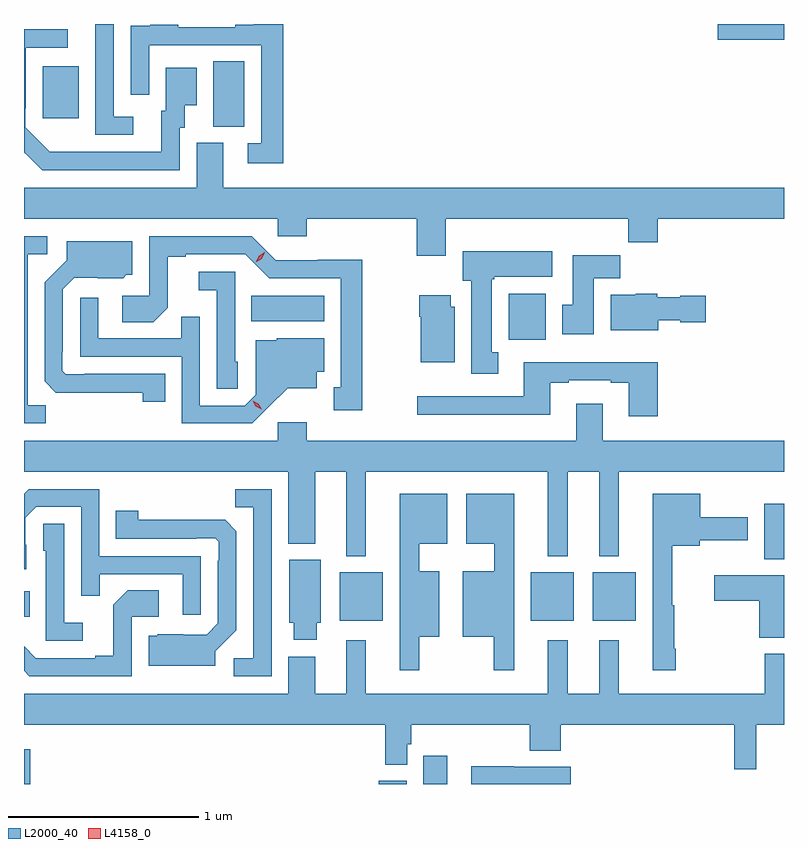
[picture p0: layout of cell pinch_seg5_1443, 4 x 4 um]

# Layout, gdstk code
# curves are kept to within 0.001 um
import gdstk
lib = gdstk.Library(unit=1e-6, precision=1e-09)
def R(c, l, rs):  # rectangles x0, y0, x1, y1
    for r in rs: c.add(gdstk.rectangle(r[:2], r[2:], *l))
def P(c, l, *ps):  # polygons
    for p in ps: c.add(gdstk.Polygon(p, *l))
L2000_40 = (2000, 40)
L4158_0 = (4158, 0)

pinch_seg5_1443 = lib.new_cell('pinch_seg5_1443')
R(pinch_seg5_1443, L2000_40, [(135.284,885.753,135.317,885.937), (137.15,885.753,137.299,885.769), (137.386,885.753,137.512,885.901), (136.946,886.613,137.173,886.867), (137.951,886.613,138.178,886.867), (138.278,886.613,138.505,886.867), (135.284,886.634,135.314,886.768), (139.181,886.937,139.284,887.227), (137.834,888.092,138.031,888.334), (136.48,888.188,136.864,888.322), (136.28,889.213,136.444,889.556), (135.383,889.257,135.571,889.531), (138.936,889.67,139.284,889.753)])
P(pinch_seg5_1443, L2000_40, [(136.649,889.753),(136.493,889.753),(136.493,889.75),(136.397,889.75),(136.397,889.737),(136.097,889.737),(136.097,889.75),(135.949,889.75),(135.949,889.743),(135.847,889.743),(135.847,889.634),(135.846,889.634),(135.846,889.38),(135.942,889.38),(135.942,889.641),(136.533,889.641),(136.533,889.125),(136.461,889.125),(136.461,889.02),(136.649,889.02)],
  [(135.859,889.266),(135.756,889.266),(135.756,889.753),(135.659,889.753),(135.659,889.627),(135.66,889.627),(135.66,889.17),(135.859,889.17)],
  [(136.104,889.206),(136.129,889.206),(136.129,889.325),(136.192,889.325),(136.192,889.522),(136.031,889.522),(136.031,889.296),(136.007,889.296),(136.007,889.08),(135.42,889.081),(135.291,889.209),(135.291,889.309),(135.294,889.309),(135.294,889.629),(135.514,889.629),(135.514,889.725),(135.284,889.725),(135.284,889.078),(135.288,889.074),(135.289,889.075),(135.38,888.984),(136.104,888.984)],
  [(136.333,889.128),(136.193,889.128),(136.193,888.892),(135.284,888.892),(135.284,888.728),(136.62,888.728),(136.62,888.635),(136.772,888.635),(136.772,888.728),(137.351,888.728),(137.351,888.534),(137.503,888.534),(137.503,888.728),(138.463,888.728),(138.463,888.604),(138.62,888.604),(138.62,888.728),(139.284,888.728),(139.284,888.892),(136.333,888.892)],
  [(137.063,888.512),(136.83,888.512),(136.83,888.51),(136.608,888.51),(136.482,888.636),(135.942,888.636),(135.942,888.324),(135.801,888.324),(135.801,888.184),(135.965,888.184),(136.041,888.26),(136.041,888.528),(136.135,888.528),(136.135,888.54),(136.449,888.54),(136.575,888.414),(136.952,888.414),(136.952,887.841),(136.913,887.841),(136.913,887.721),(137.063,887.721)],
  [(135.399,887.747),(135.303,887.747),(135.303,888.54),(135.406,888.54),(135.406,888.636),(135.284,888.636),(135.284,887.652),(135.399,887.652)],
  [(136.028,887.913),(135.604,887.913),(135.604,887.91),(135.504,887.91),(135.486,887.928),(135.486,888.028),(135.489,888.028),(135.489,888.357),(135.549,888.417),(135.806,888.416),(135.822,888.432),(135.853,888.432),(135.853,888.61),(135.509,888.61),(135.509,888.51),(135.393,888.394),(135.393,887.872),(135.452,887.813),(135.91,887.812),(135.91,887.766),(136.028,887.766)],
  [(137.779,888.026),(137.746,888.026),(137.746,888.409),(137.76,888.409),(137.76,888.422),(138.064,888.422),(138.064,888.556),(137.594,888.556),(137.594,888.402),(137.639,888.402),(137.639,887.913),(137.779,887.913)],
  [(138.283,888.416),(138.422,888.416),(138.422,888.535),(138.173,888.535),(138.173,888.276),(138.116,888.276),(138.116,888.12),(138.283,888.12)],
  [(136.41,887.976),(136.395,887.976),(136.395,888.45),(136.203,888.45),(136.203,888.353),(136.299,888.353),(136.299,887.833),(136.41,887.833)],
  [(138.622,888.194),(138.738,888.194),(138.738,888.182),(138.871,888.182),(138.871,888.324),(138.738,888.324),(138.738,888.316),(138.618,888.316),(138.618,888.334),(138.504,888.334),(138.504,888.328),(138.371,888.328),(138.371,888.14),(138.622,888.14)],
  [(137.551,888.264),(137.53,888.264),(137.53,888.325),(137.365,888.325),(137.365,888.212),(137.372,888.212),(137.372,887.972),(137.551,887.972)],
  [(136.57,887.735),(136.673,887.837),(136.825,887.837),(136.825,887.924),(136.864,887.924),(136.864,888.1),(136.614,888.1),(136.614,888.088),(136.503,888.088),(136.503,887.802),(136.446,887.745),(136.209,887.745),(136.209,888.212),(136.111,888.212),(136.111,888.099),(135.675,888.099),(135.675,888.313),(135.579,888.313),(135.579,888.003),(136.113,888.003),(136.113,887.652),(136.486,887.652)],
  [(138.62,887.974),(137.915,887.974),(137.915,887.793),(137.355,887.793),(137.355,887.696),(138.055,887.696),(138.055,887.865),(138.151,887.865),(138.151,887.877),(138.371,887.877),(138.371,887.865),(138.467,887.865),(138.467,887.688),(138.62,887.688)],
  [(137.083,887.396),(138.041,887.396),(138.041,886.952),(138.145,886.952),(138.145,887.396),(138.311,887.396),(138.311,886.952),(138.415,886.952),(138.415,887.396),(139.284,887.396),(139.284,887.56),(138.331,887.56),(138.331,887.755),(138.191,887.755),(138.191,887.56),(136.772,887.56),(136.772,887.656),(136.62,887.656),(136.62,887.56),(135.284,887.56),(135.284,887.396),(136.676,887.396),(136.676,887.018),(136.816,887.018),(136.816,887.396),(136.979,887.396),(136.979,886.952),(137.083,886.952)],
  [(136.587,887.304),(136.396,887.304),(136.396,887.209),(136.491,887.209),(136.491,886.416),(136.389,886.416),(136.389,886.32),(136.587,886.32)],
  [(136.215,886.953),(135.681,886.953),(135.681,887.304),(135.308,887.304),(135.284,887.28),(135.284,886.883),(135.295,886.883),(135.295,887.012),(135.291,887.012),(135.291,887.154),(135.348,887.211),(135.585,887.211),(135.585,886.744),(135.683,886.744),(135.683,886.857),(136.119,886.857),(136.119,886.644),(136.215,886.644)],
  [(137.863,887.281),(137.612,887.281),(137.612,887.018),(137.759,887.018),(137.759,886.873),(137.594,886.873),(137.594,886.529),(137.757,886.529),(137.757,886.353),(137.863,886.353)],
  [(138.715,886.465),(138.707,886.465),(138.707,886.694),(138.697,886.694),(138.697,887.006),(138.84,887.006),(138.84,887.036),(139.093,887.036),(139.093,887.158),(138.844,887.158),(138.844,887.281),(138.593,887.281),(138.593,886.353),(138.715,886.353)],
  [(137.365,886.529),(137.47,886.529),(137.47,886.873),(137.365,886.873),(137.365,887.018),(137.512,887.018),(137.512,887.281),(137.261,887.281),(137.261,886.353),(137.365,886.353)],
  [(136.291,886.452),(136.401,886.562),(136.401,887.084),(136.342,887.143),(135.885,887.144),(135.885,887.191),(135.766,887.191),(135.766,887.043),(136.19,887.043),(136.19,887.046),(136.29,887.046),(136.308,887.028),(136.308,886.928),(136.305,886.928),(136.305,886.599),(136.245,886.539),(135.988,886.54),(135.982,886.534),(135.941,886.534),(135.941,886.376),(136.291,886.376)],
  [(135.592,886.603),(135.495,886.603),(135.495,887.123),(135.384,887.123),(135.384,886.98),(135.399,886.98),(135.399,886.506),(135.592,886.506)],
  [(136.825,886.602),(136.846,886.602),(136.846,886.933),(136.679,886.933),(136.679,886.602),(136.703,886.602),(136.703,886.511),(136.825,886.511)],
  [(139.284,886.852),(138.918,886.852),(138.918,886.718),(139.153,886.718),(139.153,886.523),(139.284,886.523)],
  [(135.852,886.632),(135.994,886.632),(135.994,886.772),(135.829,886.772),(135.753,886.696),(135.753,886.429),(135.659,886.429),(135.659,886.416),(135.345,886.416),(135.284,886.477),(135.284,886.348),(135.312,886.32),(135.852,886.32)],
  [(138.415,886.51),(138.311,886.51),(138.311,886.228),(138.145,886.228),(138.145,886.51),(138.041,886.51),(138.041,886.228),(137.083,886.228),(137.083,886.51),(136.979,886.51),(136.979,886.228),(136.816,886.228),(136.816,886.423),(136.676,886.423),(136.676,886.228),(135.284,886.228),(135.284,886.064),(137.185,886.064),(137.185,885.854),(137.301,885.854),(137.301,885.963),(137.321,885.963),(137.321,886.064),(137.945,886.064),(137.945,885.928),(138.11,885.928),(138.11,886.064),(139.021,886.064),(139.021,885.831),(139.139,885.831),(139.139,886.064),(139.284,886.064),(139.284,886.438),(139.183,886.438),(139.183,886.228),(138.415,886.228)],
  [(138.161,885.843),(137.861,885.843),(137.861,885.846),(137.637,885.846),(137.637,885.753),(138.161,885.753)])
P(pinch_seg5_1443, L4158_0, [(136.504,888.499),(136.504,888.499),(136.521,888.532),(136.552,888.551),(136.552,888.551),(136.552,888.551),(136.535,888.518),(136.504,888.499)],
  [(136.536,887.726),(136.505,887.74),(136.487,887.769),(136.487,887.77),(136.487,887.77),(136.518,887.755),(136.536,887.726),(136.536,887.726)])

lib.write_gds('pinch_seg5_1443.gds')
